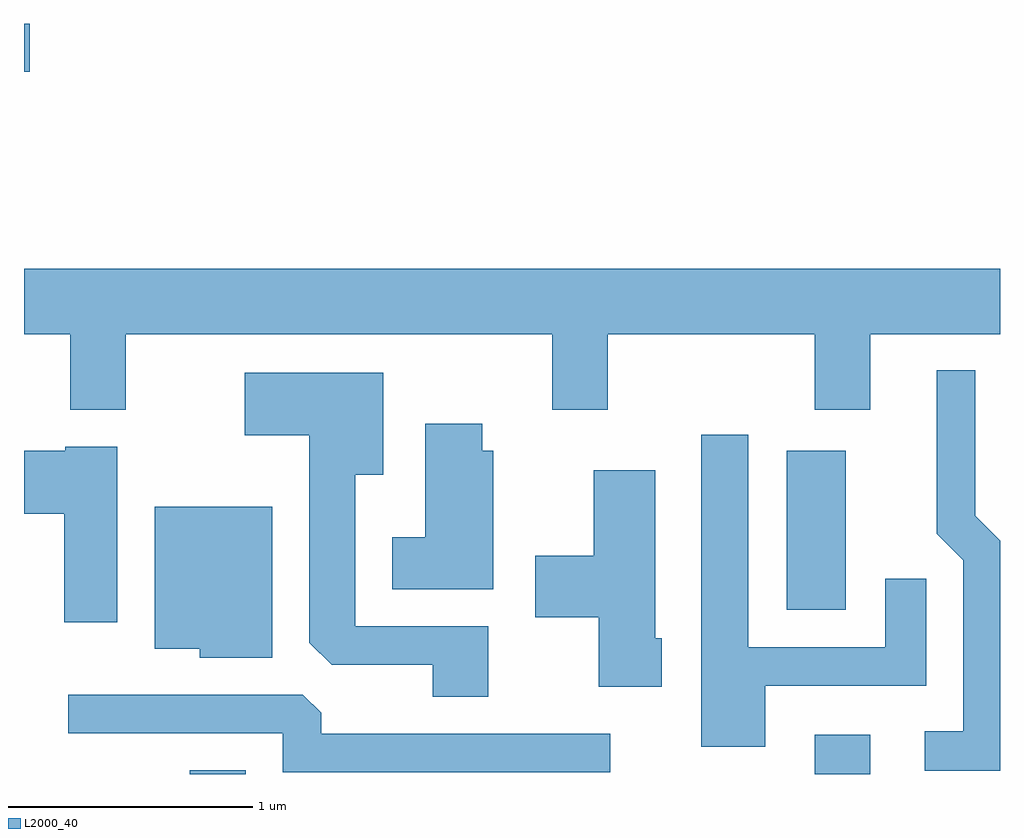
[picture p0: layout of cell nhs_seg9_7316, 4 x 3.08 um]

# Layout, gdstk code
import gdstk
lib = gdstk.Library(unit=1e-6, precision=1e-09)
def R(c, l, rs):  # rectangles x0, y0, x1, y1
    for r in rs: c.add(gdstk.rectangle(r[:2], r[2:], *l))
def P(c, l, *ps):  # polygons
    for p in ps: c.add(gdstk.Polygon(p, *l))
L2000_40 = (2000, 40)

nhs_seg9_7316 = lib.new_cell('nhs_seg9_7316')
R(nhs_seg9_7316, L2000_40, [(402.291,2014.432,402.519,2014.449), (404.851,2014.432,405.079,2014.594), (404.736,2015.106,404.979,2015.759), (401.611,2017.311,401.634,2017.509)])
P(nhs_seg9_7316, L2000_40, [(402.029,2016.236),(403.776,2016.236),(403.776,2015.926),(404.004,2015.926),(404.004,2016.236),(404.851,2016.236),(404.851,2015.926),(405.079,2015.926),(405.079,2016.236),(405.611,2016.236),(405.611,2016.504),(401.611,2016.504),(401.611,2016.236),(401.801,2016.236),(401.801,2015.926),(402.029,2015.926)],
  [(405.611,2015.39),(405.509,2015.492),(405.509,2016.088),(405.351,2016.088),(405.351,2015.419),(405.461,2015.309),(405.461,2014.609),(405.303,2014.609),(405.303,2014.446),(405.611,2014.446)],
  [(403.514,2015.039),(402.969,2015.039),(402.969,2015.661),(403.084,2015.661),(403.084,2016.079),(402.516,2016.079),(402.516,2015.821),(402.781,2015.821),(402.781,2014.972),(402.872,2014.881),(403.286,2014.881),(403.286,2014.751),(403.514,2014.751)],
  [(403.534,2015.759),(403.489,2015.759),(403.489,2015.869),(403.256,2015.869),(403.256,2015.404),(403.121,2015.404),(403.121,2015.191),(403.534,2015.191)],
  [(404.649,2014.796),(405.309,2014.796),(405.309,2015.233),(405.141,2015.233),(405.141,2014.954),(404.579,2014.954),(404.579,2015.824),(404.386,2015.824),(404.386,2014.546),(404.649,2014.546)],
  [(401.994,2015.774),(401.78,2015.774),(401.78,2015.759),(401.611,2015.759),(401.611,2015.501),(401.776,2015.501),(401.776,2015.056),(401.994,2015.056)],
  [(404.224,2014.989),(404.199,2014.989),(404.199,2015.679),(403.946,2015.679),(403.946,2015.329),(403.706,2015.329),(403.706,2015.076),(403.966,2015.076),(403.966,2014.791),(404.224,2014.791)],
  [(402.629,2015.529),(402.146,2015.529),(402.146,2014.946),(402.331,2014.946),(402.331,2014.911),(402.629,2014.911)],
  [(404.013,2014.599),(402.829,2014.599),(402.829,2014.684),(402.754,2014.759),(401.793,2014.759),(401.793,2014.601),(402.671,2014.601),(402.671,2014.441),(404.013,2014.441)])

lib.write_gds('nhs_seg9_7316.gds')
